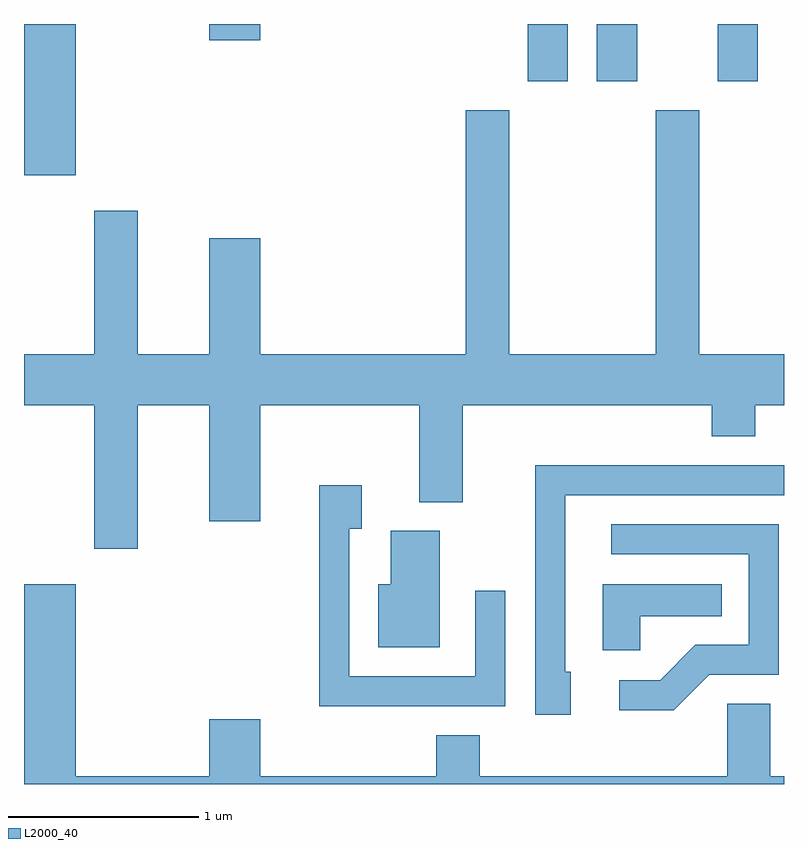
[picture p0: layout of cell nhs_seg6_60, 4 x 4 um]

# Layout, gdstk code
import gdstk
lib = gdstk.Library(unit=1e-6, precision=1e-09)
def R(c, l, rs):  # rectangles x0, y0, x1, y1
    for r in rs: c.add(gdstk.rectangle(r[:2], r[2:], *l))
def P(c, l, *ps):  # polygons
    for p in ps: c.add(gdstk.Polygon(p, *l))
L2000_40 = (2000, 40)

nhs_seg6_60 = lib.new_cell('nhs_seg6_60')
R(nhs_seg6_60, L2000_40, [(185.611,1653.366,185.884,1654.162), (188.261,1653.861,188.474,1654.162), (188.626,1653.861,188.839,1654.162), (189.261,1653.861,189.474,1654.162), (186.586,1654.076,186.854,1654.162)])
P(nhs_seg6_60, L2000_40, [(186.209,1652.156),(186.586,1652.156),(186.586,1651.546),(186.854,1651.546),(186.854,1652.156),(187.691,1652.156),(187.691,1651.646),(187.919,1651.646),(187.919,1652.156),(189.231,1652.156),(189.231,1651.991),(189.459,1651.991),(189.459,1652.156),(189.611,1652.156),(189.611,1652.424),(189.164,1652.424),(189.164,1653.709),(188.936,1653.709),(188.936,1652.424),(188.164,1652.424),(188.164,1653.709),(187.936,1653.709),(187.936,1652.424),(186.854,1652.424),(186.854,1653.034),(186.586,1653.034),(186.586,1652.424),(186.209,1652.424),(186.209,1653.179),(185.981,1653.179),(185.981,1652.424),(185.611,1652.424),(185.611,1652.156),(185.981,1652.156),(185.981,1651.401),(186.209,1651.401)],
  [(188.489,1650.754),(188.459,1650.754),(188.459,1651.681),(189.611,1651.681),(189.611,1651.839),(188.301,1651.839),(188.301,1650.526),(188.489,1650.526)],
  [(188.144,1651.178),(187.986,1651.178),(187.986,1650.729),(187.324,1650.729),(187.324,1651.506),(187.389,1651.506),(187.389,1651.734),(187.166,1651.734),(187.166,1650.571),(188.144,1650.571)],
  [(189.217,1650.736),(189.584,1650.736),(189.584,1651.529),(188.703,1651.529),(188.703,1651.371),(189.426,1651.371),(189.426,1650.894),(189.144,1650.894),(188.959,1650.709),(188.743,1650.709),(188.743,1650.551),(189.032,1650.551)],
  [(187.799,1651.494),(187.541,1651.494),(187.541,1651.214),(187.476,1651.214),(187.476,1650.881),(187.799,1650.881)],
  [(189.611,1650.204),(189.539,1650.204),(189.539,1650.584),(189.311,1650.584),(189.311,1650.204),(188.009,1650.204),(188.009,1650.419),(187.781,1650.419),(187.781,1650.204),(186.854,1650.204),(186.854,1650.504),(186.586,1650.504),(186.586,1650.204),(185.884,1650.204),(185.884,1651.214),(185.611,1651.214),(185.611,1650.162),(189.611,1650.162)],
  [(188.854,1651.046),(189.283,1651.046),(189.283,1651.214),(188.656,1651.214),(188.656,1650.866),(188.854,1650.866)])

lib.write_gds('nhs_seg6_60.gds')
